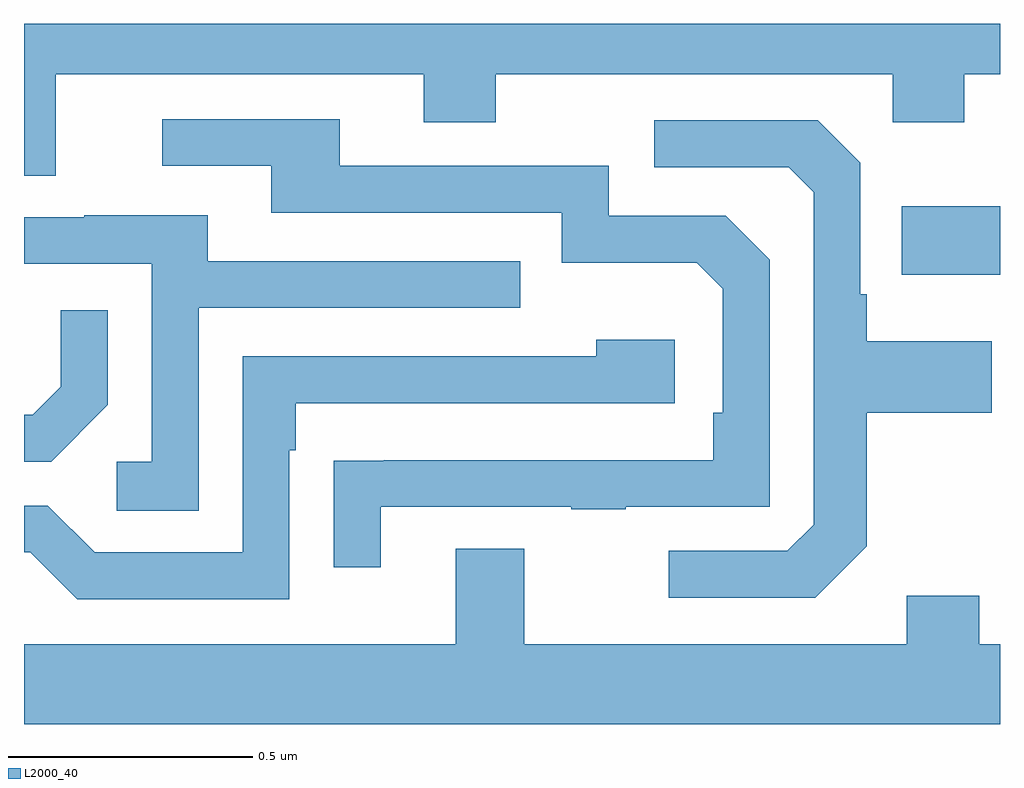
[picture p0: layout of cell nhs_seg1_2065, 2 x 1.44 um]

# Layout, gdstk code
import gdstk
lib = gdstk.Library(unit=1e-6, precision=1e-09)
def R(c, l, rs):  # rectangles x0, y0, x1, y1
    for r in rs: c.add(gdstk.rectangle(r[:2], r[2:], *l))
def P(c, l, *ps):  # polygons
    for p in ps: c.add(gdstk.Polygon(p, *l))
L2000_40 = (2000, 40)

nhs_seg1_2065 = lib.new_cell('nhs_seg1_2065')
R(nhs_seg1_2065, L2000_40, [(138.799,520.685,139,520.825)])
P(nhs_seg1_2065, L2000_40, [(137.065,521.096),(137.819,521.096),(137.819,520.997),(137.967,520.997),(137.967,521.096),(138.78,521.096),(138.78,520.997),(138.927,520.997),(138.927,521.096),(139,521.096),(139,521.199),(137,521.199),(137,520.888),(137.065,520.888)],
  [(137.731,520.209),(138.121,520.209),(138.121,520.204),(138.233,520.204),(138.233,520.209),(138.528,520.209),(138.528,520.716),(138.438,520.806),(138.198,520.806),(138.198,520.908),(137.647,520.908),(137.647,521.004),(137.283,521.004),(137.283,520.908),(137.507,520.908),(137.507,520.812),(138.102,520.812),(138.102,520.709),(138.379,520.709),(138.432,520.656),(138.432,520.402),(138.412,520.402),(138.412,520.305),(137.737,520.305),(137.737,520.304),(137.635,520.304),(137.635,520.086),(137.731,520.086)],
  [(138.727,520.129),(138.727,520.402),(138.983,520.402),(138.983,520.549),(138.727,520.549),(138.727,520.645),(138.714,520.645),(138.714,520.914),(138.627,521.001),(138.291,521.001),(138.291,520.905),(138.567,520.905),(138.618,520.854),(138.618,520.173),(138.564,520.119),(138.321,520.119),(138.321,520.023),(138.621,520.023)],
  [(137.358,520.617),(138.017,520.617),(138.017,520.713),(137.377,520.713),(137.377,520.807),(137.123,520.807),(137.123,520.803),(137,520.803),(137,520.707),(137.262,520.707),(137.262,520.302),(137.19,520.302),(137.19,520.201),(137.358,520.201)],
  [(137.172,520.418),(137.172,520.612),(137.075,520.612),(137.075,520.455),(137.018,520.398),(137,520.398),(137,520.302),(137.056,520.302)],
  [(137.544,520.325),(137.557,520.325),(137.557,520.422),(138.334,520.422),(138.334,520.552),(138.173,520.552),(138.173,520.518),(137.448,520.518),(137.448,520.116),(137.145,520.116),(137.049,520.212),(137,520.212),(137,520.116),(137.013,520.116),(137.109,520.02),(137.544,520.02)],
  [(139,519.928),(138.957,519.928),(138.957,520.027),(138.809,520.027),(138.809,519.928),(138.025,519.928),(138.025,520.123),(137.885,520.123),(137.885,519.928),(137,519.928),(137,519.764),(139,519.764)])

lib.write_gds('nhs_seg1_2065.gds')
